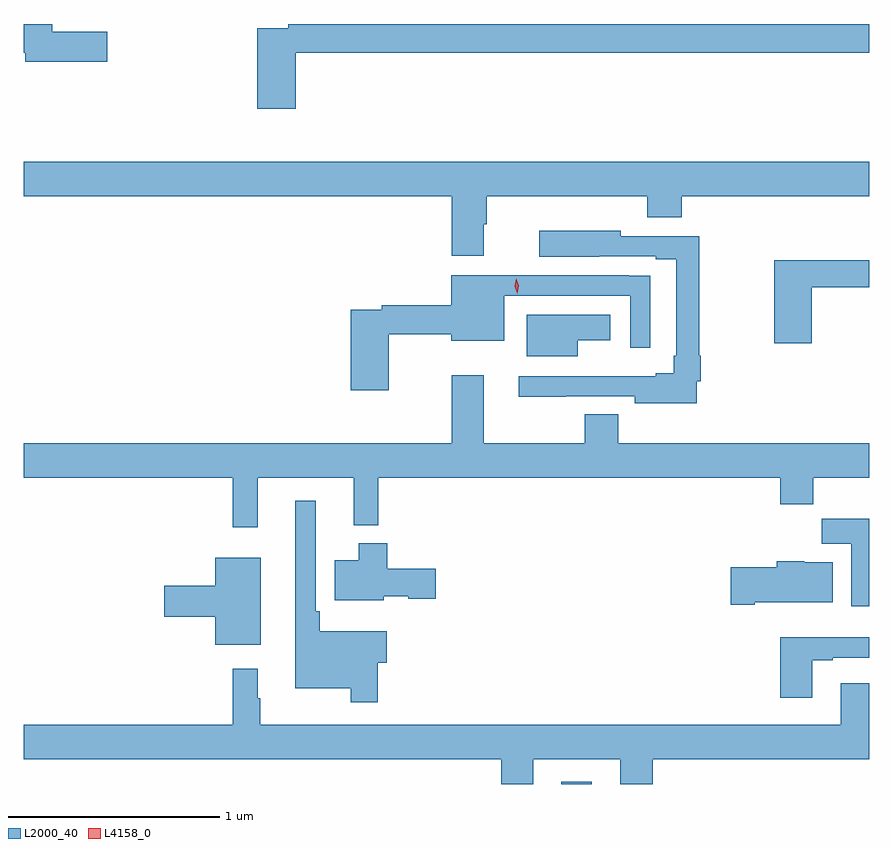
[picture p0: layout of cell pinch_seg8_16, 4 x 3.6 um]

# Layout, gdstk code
import gdstk
lib = gdstk.Library(unit=1e-6, precision=1e-09)
def R(c, l, rs):  # rectangles x0, y0, x1, y1
    for r in rs: c.add(gdstk.rectangle(r[:2], r[2:], *l))
def P(c, l, *ps):  # polygons
    for p in ps: c.add(gdstk.Polygon(p, *l))
L2000_40 = (2000, 40)
L4158_0 = (4158, 0)

pinch_seg8_16 = lib.new_cell('pinch_seg8_16')
R(pinch_seg8_16, L2000_40, [(1031.462,1135.031,1031.605,1135.042)])
P(pinch_seg8_16, L2000_40, [(1029.313,1138.592),(1029.052,1138.592),(1029.052,1138.628),(1028.918,1138.628),(1028.918,1138.492),(1028.924,1138.492),(1028.924,1138.45),(1029.313,1138.45)],
  [(1030.205,1138.492),(1032.918,1138.492),(1032.918,1138.628),(1030.168,1138.628),(1030.168,1138.608),(1030.022,1138.608),(1030.022,1138.227),(1030.205,1138.227)],
  [(1031.095,1137.68),(1031.108,1137.68),(1031.108,1137.812),(1031.867,1137.812),(1031.867,1137.713),(1032.032,1137.713),(1032.032,1137.812),(1032.918,1137.812),(1032.918,1137.976),(1028.918,1137.976),(1028.918,1137.812),(1030.943,1137.812),(1030.943,1137.531),(1031.095,1137.531)],
  [(1032.102,1136.938),(1032.122,1136.938),(1032.122,1137.058),(1032.115,1137.058),(1032.115,1137.624),(1031.742,1137.624),(1031.742,1137.649),(1031.358,1137.649),(1031.358,1137.527),(1031.642,1137.527),(1031.642,1137.528),(1031.909,1137.528),(1031.909,1137.514),(1032.006,1137.514),(1032.006,1137.058),(1031.994,1137.058),(1031.994,1136.975),(1031.909,1136.975),(1031.909,1136.962),(1031.679,1136.962),(1031.679,1136.961),(1031.259,1136.961),(1031.259,1136.863),(1031.483,1136.863),(1031.483,1136.865),(1031.81,1136.865),(1031.81,1136.834),(1032.102,1136.834)],
  [(1032.647,1137.382),(1032.918,1137.382),(1032.918,1137.511),(1032.469,1137.511),(1032.469,1137.117),(1032.647,1137.117)],
  [(1030.644,1137.16),(1030.94,1137.16),(1030.94,1137.128),(1031.191,1137.128),(1031.191,1137.342),(1031.787,1137.342),(1031.787,1137.096),(1031.883,1137.096),(1031.883,1137.335),(1031.882,1137.335),(1031.882,1137.437),(1031.78,1137.437),(1031.78,1137.438),(1030.94,1137.438),(1030.94,1137.296),(1030.612,1137.296),(1030.612,1137.276),(1030.466,1137.276),(1030.466,1136.895),(1030.644,1136.895)],
  [(1031.539,1137.131),(1031.692,1137.131),(1031.692,1137.253),(1031.297,1137.253),(1031.297,1137.056),(1031.539,1137.056)],
  [(1030.025,1136.48),(1030.478,1136.48),(1030.478,1136.255),(1030.595,1136.255),(1030.595,1136.48),(1032.497,1136.48),(1032.497,1136.356),(1032.653,1136.356),(1032.653,1136.48),(1032.918,1136.48),(1032.918,1136.644),(1031.732,1136.644),(1031.732,1136.78),(1031.572,1136.78),(1031.572,1136.644),(1031.095,1136.644),(1031.095,1136.965),(1030.943,1136.965),(1030.943,1136.644),(1028.918,1136.644),(1028.918,1136.48),(1029.907,1136.48),(1029.907,1136.247),(1030.025,1136.247)],
  [(1030.592,1135.606),(1030.636,1135.606),(1030.636,1135.753),(1030.319,1135.753),(1030.319,1135.849),(1030.299,1135.849),(1030.299,1136.371),(1030.202,1136.371),(1030.202,1135.484),(1030.464,1135.484),(1030.464,1135.419),(1030.592,1135.419)],
  [(1032.918,1136.287),(1032.694,1136.287),(1032.694,1136.168),(1032.833,1136.168),(1032.833,1135.872),(1032.918,1135.872)],
  [(1030.62,1135.919),(1030.737,1135.919),(1030.737,1135.907),(1030.867,1135.907),(1030.867,1136.049),(1030.637,1136.049),(1030.637,1136.17),(1030.502,1136.17),(1030.502,1136.089),(1030.388,1136.089),(1030.388,1135.901),(1030.62,1135.901)],
  [(1030.039,1136.101),(1029.824,1136.101),(1029.824,1135.97),(1029.582,1135.97),(1029.582,1135.823),(1029.824,1135.823),(1029.824,1135.691),(1030.039,1135.691)],
  [(1032.376,1135.892),(1032.745,1135.892),(1032.745,1136.08),(1032.612,1136.08),(1032.612,1136.086),(1032.482,1136.086),(1032.482,1136.058),(1032.264,1136.058),(1032.264,1135.88),(1032.376,1135.88)],
  [(1032.649,1135.617),(1032.745,1135.617),(1032.745,1135.629),(1032.918,1135.629),(1032.918,1135.726),(1032.497,1135.726),(1032.497,1135.44),(1032.649,1135.44)],
  [(1031.329,1135.148),(1031.741,1135.148),(1031.741,1135.031),(1031.894,1135.031),(1031.894,1135.148),(1032.918,1135.148),(1032.918,1135.507),(1032.785,1135.507),(1032.785,1135.312),(1030.036,1135.312),(1030.036,1135.436),(1030.024,1135.436),(1030.024,1135.576),(1029.907,1135.576),(1029.907,1135.312),(1028.918,1135.312),(1028.918,1135.148),(1031.177,1135.148),(1031.177,1135.031),(1031.329,1135.031)])
P(pinch_seg8_16, L4158_0, [(1031.254,1137.352),(1031.253,1137.353),(1031.241,1137.386),(1031.248,1137.422),(1031.248,1137.422),(1031.248,1137.422),(1031.261,1137.388),(1031.254,1137.353)])

lib.write_gds('pinch_seg8_16.gds')
